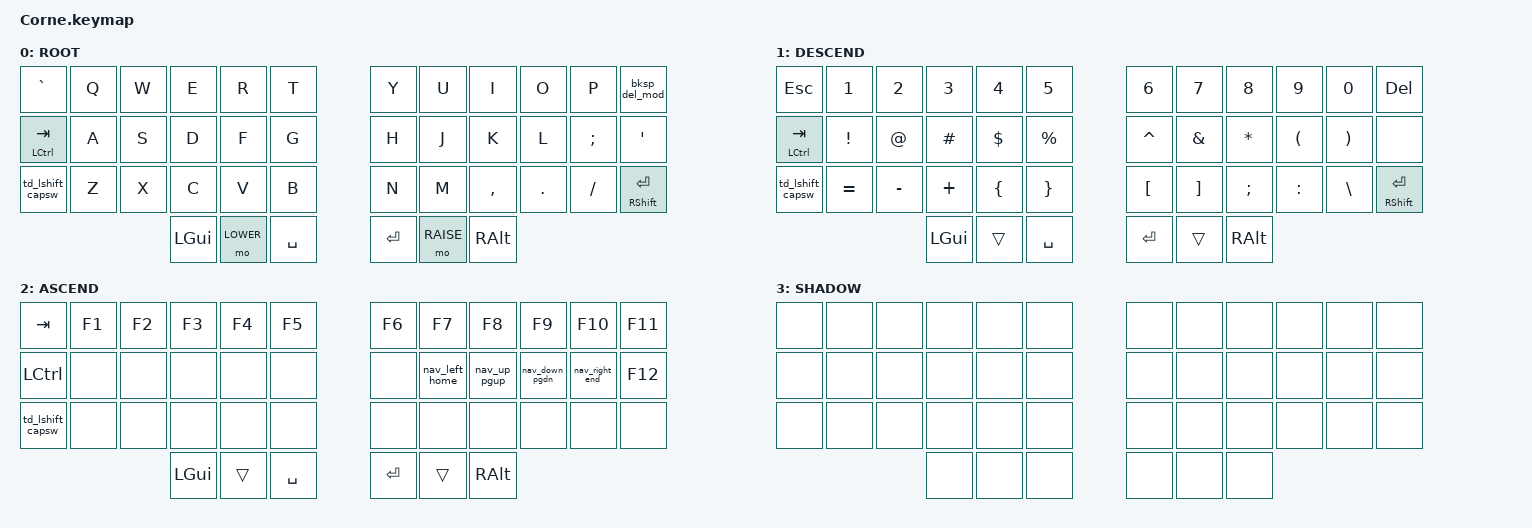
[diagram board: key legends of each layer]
/*
 * Copyright (c) 2020 The ZMK Contributors
 *
 * SPDX-License-Identifier: MIT
 */

#include <behaviors.dtsi>
#include <dt-bindings/zmk/keys.h>
#include <dt-bindings/zmk/bt.h>
#include "zmk-helpers/helper.h"

#define BASE 0
#define LOWER 1
#define RAISE 2
#define ADJUST 3

ZMK_MOD_MORPH(nav_left_home,
        bindings = <&kp LEFT>, <&kp HOME>;
        mods = <(MOD_LSFT|MOD_RSFT)>;
)

ZMK_MOD_MORPH(nav_up_pgup,
        bindings = <&kp UP>, <&kp PG_UP>;
        mods = <(MOD_LSFT|MOD_RSFT)>;
)

ZMK_MOD_MORPH(nav_down_pgdn,
        bindings = <&kp DOWN>, <&kp PG_DN>;
        mods = <(MOD_LSFT|MOD_RSFT)>;
)

ZMK_MOD_MORPH(nav_right_end,
        bindings = <&kp RIGHT>, <&kp END>;
        mods = <(MOD_LSFT|MOD_RSFT)>;
)

ZMK_MOD_MORPH(bksp_del_mod,
        bindings = <&kp BSPC>, <&kp DEL>;
        mods = <(MOD_LCTL|MOD_RCTL|MOD_LSFT|MOD_RSFT|MOD_LALT|MOD_RALT|MOD_LGUI|MOD_RGUI)>;
)

ZMK_TAP_DANCE(td_lshift_capsw,
        tapping-term-ms = <200>;
        bindings = <&kp LSHFT>, <&caps_word>;
)

/ {
        // Activate ADJUST layer by pressing raise and lower
        conditional_layers {
                compatible = "zmk,conditional-layers";
                adjust_layer {
                        if-layers = <LOWER RAISE>;
                        then-layer = <ADJUST>;
                };
        };
        keymap {
                compatible = "zmk,keymap";

                default_layer {
// -----------------------------------------------------------------------------------------
// ╭───────┬─────┬─────┬─────┬─────┬─────╮              ╭─────┬─────┬─────┬─────┬─────┬────────╮
// │   `   │  Q  │  W  │  E  │  R  │  T  │              │  Y  │  U  │  I  │  O  │  P  │BKSP/DEL│
// ├───────┼─────┼─────┼─────┼─────┼─────┤              ├─────┼─────┼─────┼─────┼─────┼────────┤
// │CRL/TAB│  A  │  S  │  D  │  F  │  G  │              │  H  │  J  │  K  │  L  │  ;  │   '    │
// ├───────┼─────┼─────┼─────┼─────┼─────┤              ├─────┼─────┼─────┼─────┼─────┼────────┤
// │ SHFT  │  Z  │  X  │  C  │  V  │  B  │              │  N  │  M  │  ,  │  .  │  /  │SHFT/RET│
// ╰───────┴─────┴─────┴─────┼─────┼─────┼─────╮  ╭─────┼─────┼─────┼─────┴─────┴─────┴────────╯
//                           │ GUI │ LWR │ SPC │  │ ENT │ RSE │ ALT │
//                           ╰─────┴─────┴─────╯  ╰─────┴─────┴─────╯
                        bindings = <
//     ╭─────────────────┬──────┬──────┬──────┬─────────┬─────────╮                    ╭──────────┬─────────┬─────────┬────────┬────────┬─────────────╮
        &kp GRAVE         &kp Q  &kp W  &kp E  &kp R     &kp T                          &kp Y      &kp U     &kp I     &kp O    &kp P    &bksp_del_mod
//     ├─────────────────┼──────┼──────┼──────┼─────────┼─────────┤                    ├──────────┼─────────┼─────────┼────────┼────────┼─────────────┤
        &mt LCTRL TAB     &kp A  &kp S  &kp D  &kp F     &kp G                          &kp H      &kp J     &kp K     &kp L    &kp SEMI &kp SQT
//     ├─────────────────┼──────┼──────┼──────┼─────────┼─────────┤                    ├──────────┼─────────┼─────────┼────────┼────────┼─────────────┤
        &td_lshift_capsw  &kp Z  &kp X  &kp C  &kp V     &kp B                          &kp N      &kp M     &kp COMMA &kp DOT  &kp FSLH &mt RSHFT RET
//     ╰─────────────────┴──────┴──────┴──────┼─────────┼─────────┼──────────╮ ╭───────┼──────────┼─────────┼─────────┼────────┴────────┴─────────────╯
                                               &kp LGUI  &mo LOWER  &kp SPACE   &kp RET &mo RAISE  &kp RALT
//                                            ╰─────────┴──────────┴─────────╯ ╰───────┴──────────┴─────────╯

                        >;
                display-name = "ROOT";
                };
                lower_layer {
// -----------------------------------------------------------------------------------------
// ╭───────┬─────┬─────┬─────┬─────┬─────╮              ╭─────┬─────┬─────┬─────┬─────┬───────╮
// │  ESC  │  1  │  2  │  3  │  4  │  5  │              │  6  │  7  │  8  │  9  │  0  │  DEL  │
// ├───────┼─────┼─────┼─────┼─────┼─────┤              ├─────┼─────┼─────┼─────┼─────┼───────┤
// │ CTRL  │  !  │  @  │  #  │  $  │  %  │              │  ^  │  &  │  *  │  (  │  )  │       │
// ├───────┼─────┼─────┼─────┼─────┼─────┤              ├─────┼─────┼─────┼─────┼─────┼───────┤
// │ SHFT  │  =  │  -  │  +  │  {  │  }  │              │  [  │  ]  │  ;  │  :  │  \  │       │
// ╰───────┴─────┴─────┴─────┼─────┼─────┼─────╮  ╭─────┼─────┼─────┼─────┼─────┴─────┴───────╯
//                           │ GUI │     │ SPC │  │ ENT │     │ ALT │
//                           ╰─────┴─────┴─────╯  ╰─────┴─────┴─────╯
                        bindings = <
//     ╭─────────────────┬──────────┬──────────┬──────────┬─────────┬─────────╮                    ╭──────────┬─────────┬─────────┬─────────┬─────────┬─────────────╮
        &kp ESC           &kp N1     &kp N2     &kp N3     &kp N4    &kp N5                         &kp N6     &kp N7    &kp N8    &kp N9    &kp N0    &kp DEL
//     ├─────────────────┼──────────┼──────────┼──────────┼─────────┼─────────┤                    ├──────────┼─────────┼─────────┼─────────┼─────────┼─────────────┤
        &mt LCTRL TAB     &kp EXCL   &kp AT     &kp HASH   &kp DLLR  &kp PRCNT                      &kp CARET  &kp AMPS  &kp ASTRK &kp LPAR  &kp RPAR  &none 
//     ├─────────────────┼──────────┼──────────┼──────────┼─────────┼─────────┤                    ├──────────┼─────────┼─────────┼─────────┼─────────┼─────────────┤
        &td_lshift_capsw  &kp EQUAL  &kp MINUS  &kp PLUS   &kp LBRC  &kp RBRC                       &kp LBKT   &kp RBKT  &kp SEMI  &kp COLON &kp BSLH  &mt RSHFT RET
//     ╰─────────────────┴──────────┴──────────┴──────────┼─────────┼─────────┼──────────╮ ╭───────┼──────────┼─────────┼─────────┴─────────┴─────────┴─────────────╯
                                                           &kp LGUI  &trans    &kp SPACE    &kp RET &trans     &kp RALT
//                                                        ╰─────────┴─────────┴──────────╯ ╰───────┴──────────┴─────────╯
                        >;
                display-name = "DESCEND";
                };

                raise_layer {
// -----------------------------------------------------------------------------------------
// ╭───────┬─────┬─────┬─────┬─────┬─────╮   ╭─────┬─────┬─────┬─────┬─────┬───────╮
// │  TAB  │ F1  │ F2  │ F3  │ F4  │ F5  │   │ F6  │ F7  │ F8  │ F9  │ F10 │  F11  │
// ├───────┼─────┼─────┼─────┼─────┼─────┤   ├─────┼─────┼─────┼─────┼─────┼───────┤
// │ CTRL  │     │     │     │     │     │   │     │  ←  │  ↑  │  ↓  │  →  │  F12  │
// ├───────┼─────┼─────┼─────┼─────┼─────┤   ├─────┼─────┼─────┼─────┼─────┼───────┤
// │ SHFT  │     │     │     │     │     │   │     │     │     │     │     │       │
// ╰───────┴─────┴─────┼─────┼─────┼─────┤   ├─────┼─────┼─────┼─────┴─────┴───────╯
//                     │ GUI │     │ SPC │   │ ENT │     │ ALT │
//                     ╰─────┴─────┴─────╯   ╰─────┴─────┴─────╯
                        bindings = <
//     ╭─────────────────┬───────┬───────┬───────┬──────────┬───────╮                    ╭───────┬───────────────┬───────────────┬───────────────┬───────────────┬──────────────╮
        &kp TAB           &kp F1  &kp F2  &kp F3  &kp F4      &kp F5                      &kp F6  &kp F7          &kp F8          &kp F9          &kp F10         &kp F11
//     ├─────────────────┼───────┼───────┼───────┼──────────┼───────┤                    ├───────┼───────────────┼───────────────┼───────────────┼───────────────┼──────────────┤
        &kp LCTRL         &none   &none   &none   &none       &none                       &none   &nav_left_home  &nav_up_pgup    &nav_down_pgdn  &nav_right_end  &kp F12
//     ├─────────────────┼───────┼───────┼───────┼──────────┼───────┤                    ├───────┼───────────────┼───────────────┼───────────────┼───────────────┼──────────────┤
        &td_lshift_capsw  &none   &none   &none   &none       &none                       &none   &none           &none           &none           &none           &none 
//     ╰─────────────────┴───────┴───────┴───────┼──────────┼───────┼──────────╮ ╭───────┼───────┼───────────────┼───────────────┴───────────────┴───────────────┴──────────────╯
                                                  &kp LGUI   &trans  &kp SPACE    &kp RET &trans  &kp RALT
//                                               ╰──────────┴───────┴──────────╯ ╰───────┴───────┴───────────────╯
                        >;
                display-name = "ASCEND";
                };

                adjust_layer {
// -----------------------------------------------------------------------------------------
// ╭───────┬─────┬─────┬─────┬─────┬─────╮   ╭─────┬─────┬─────┬─────┬─────┬───────╮
// │ BTCLR │ BT1 │ BT2 │ BT3 │ BT4 │ BT5 │   │     │     │     │     │     │       │
// ├───────┼─────┼─────┼─────┼─────┼─────┤   ├─────┼─────┼─────┼─────┼─────┼───────┤
// │OUTTOG │     │     │     │     │     │   │     │     │     │     │     │       │
// ├───────┼─────┼─────┼─────┼─────┼─────┤   ├─────┼─────┼─────┼─────┼─────┼───────┤
// │       │     │     │     │     │     │   │     │     │     │     │     │       │
// ╰───────┴─────┴─────┼─────┼─────┼─────┤   ├─────┼─────┼─────┼─────┴─────┴───────╯
//                     │     │     │     │   │     │     │     │
//                     ╰─────┴─────┴─────╯   ╰─────┴─────┴─────╯
                        bindings = <
//     ╭──────┬──────┬──────┬──────┬──────┬──────╮                  ╭───────┬──────┬──────┬──────┬──────┬──────╮
        &none  &none  &none  &none  &none  &none                     &none   &none  &none  &none  &none  &none
//     ├──────┼──────┼──────┼──────┼──────┼──────┤                  ├───────┼──────┼──────┼──────┼──────┼──────┤
        &none  &none  &none  &none  &none  &none                             &none   &none  &none  &none  &none  &none
//     ├──────┼──────┼──────┼──────┼──────┼──────┤                  ├───────┼──────┼──────┼──────┼──────┼──────┤
        &none  &none  &none  &none  &none  &none                             &none   &none  &none  &none  &none  &none
//     ╰──────┴──────┴──────┴──────┼──────┼──────┼───────╮  ╭───────┼───────┼──────┼──────┴──────┴──────┴──────╯
                                    &none  &none  &none      &none   &none   &none
//                                 ╰──────┴──────┴───────╯  ╰───────┴───────┴──────╯
                        >;
                        display-name = "SHADOW";
                };
        };
};
